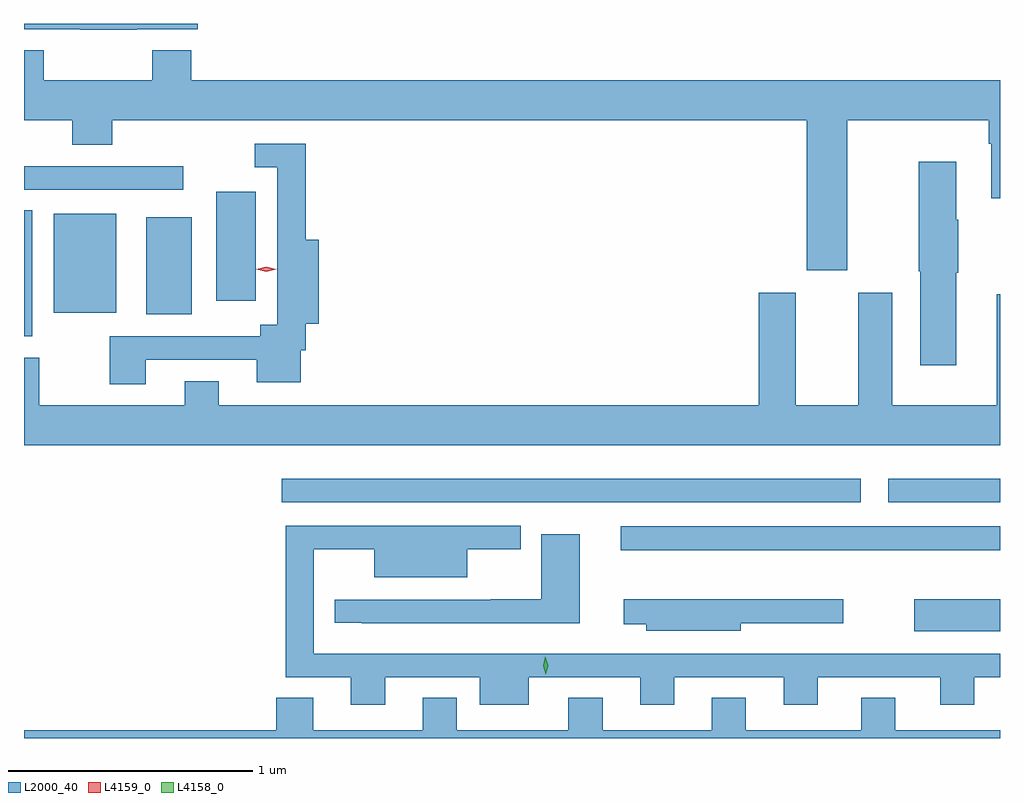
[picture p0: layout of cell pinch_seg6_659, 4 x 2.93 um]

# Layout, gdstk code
import gdstk
lib = gdstk.Library(unit=1e-6, precision=1e-09)
def R(c, l, rs):  # rectangles x0, y0, x1, y1
    for r in rs: c.add(gdstk.rectangle(r[:2], r[2:], *l))
def P(c, l, *ps):  # polygons
    for p in ps: c.add(gdstk.Polygon(p, *l))
L2000_40 = (2000, 40)
L4158_0 = (4158, 0)
L4159_0 = (4159, 0)

pinch_seg6_659 = lib.new_cell('pinch_seg6_659')
R(pinch_seg6_659, L2000_40, [(485.46,915.938,485.812,916.07), (484.257,916.271,485.812,916.368), (482.868,916.467,485.242,916.564), (485.355,916.467,485.812,916.564), (481.812,917.147,481.846,917.663), (482.312,917.237,482.5,917.635), (481.934,917.243,482.191,917.65), (482.6,917.292,482.761,917.74), (481.812,917.748,482.464,917.844)])
P(pinch_seg6_659, L2000_40, [(482.275,918.405),(482.525,918.405),(482.525,918.428),(481.812,918.428),(481.812,918.405),(482.043,918.405),(482.043,918.404),(482.275,918.404)],
  [(485.185,918.032),(485.765,918.032),(485.765,917.936),(485.777,917.936),(485.777,917.712),(485.812,917.712),(485.812,918.196),(482.498,918.196),(482.498,918.32),(482.338,918.32),(482.338,918.196),(481.893,918.196),(481.893,918.32),(481.812,918.32),(481.812,918.032),(482.009,918.032),(482.009,917.933),(482.174,917.933),(482.174,918.032),(485.021,918.032),(485.021,917.418),(485.185,917.418)],
  [(482.311,917.052),(482.765,917.052),(482.765,916.958),(482.947,916.958),(482.947,917.09),(482.966,917.09),(482.966,917.198),(483.02,917.198),(483.02,917.542),(482.966,917.542),(482.966,917.937),(482.757,917.937),(482.757,917.841),(482.85,917.841),(482.85,917.438),(482.849,917.438),(482.849,917.194),(482.78,917.194),(482.78,917.148),(482.164,917.148),(482.164,916.95),(482.311,916.95)],
  [(485.632,917.407),(485.64,917.407),(485.64,917.624),(485.632,917.624),(485.632,917.863),(485.479,917.863),(485.479,917.413),(485.486,917.413),(485.486,917.028),(485.632,917.028)],
  [(485.812,917.32),(485.798,917.32),(485.798,916.864),(485.371,916.864),(485.371,917.326),(485.231,917.326),(485.231,916.864),(484.975,916.864),(484.975,917.326),(484.823,917.326),(484.823,916.864),(482.611,916.864),(482.611,916.963),(482.471,916.963),(482.471,916.864),(481.875,916.864),(481.875,917.059),(481.812,917.059),(481.812,916.7),(485.812,916.7)],
  [(483.292,915.75),(483.68,915.75),(483.68,915.638),(483.88,915.638),(483.88,915.75),(484.337,915.75),(484.337,915.638),(484.477,915.638),(484.477,915.75),(484.925,915.75),(484.925,915.638),(485.065,915.638),(485.065,915.75),(485.567,915.75),(485.567,915.638),(485.707,915.638),(485.707,915.75),(485.812,915.75),(485.812,915.846),(483,915.846),(483,916.274),(483.248,916.274),(483.248,916.16),(483.628,916.16),(483.628,916.274),(483.847,916.274),(483.847,916.371),(482.884,916.371),(482.884,915.75),(483.152,915.75),(483.152,915.638),(483.292,915.638)],
  [(484.09,916.336),(483.932,916.336),(483.932,916.07),(483.724,916.07),(483.724,916.068),(483.085,916.068),(483.085,915.973),(483.196,915.973),(483.196,915.972),(484.09,915.972)],
  [(484.75,915.972),(485.17,915.972),(485.17,916.07),(484.646,916.07),(484.646,916.069),(484.269,916.069),(484.269,915.968),(484.362,915.968),(484.362,915.941),(484.75,915.941)],
  [(485.812,915.532),(485.383,915.532),(485.383,915.665),(485.243,915.665),(485.243,915.532),(484.771,915.532),(484.771,915.665),(484.631,915.665),(484.631,915.532),(484.183,915.532),(484.183,915.665),(484.043,915.665),(484.043,915.532),(483.586,915.532),(483.586,915.665),(483.446,915.665),(483.446,915.532),(482.998,915.532),(482.998,915.665),(482.846,915.665),(482.846,915.532),(481.812,915.532),(481.812,915.5),(485.812,915.5)])
P(pinch_seg6_659, L4158_0, [(483.951,915.762),(483.951,915.762),(483.94,915.798),(483.948,915.834),(483.949,915.834),(483.949,915.834),(483.96,915.798),(483.951,915.762)])
P(pinch_seg6_659, L4159_0, [(482.804,917.412),(482.764,917.422),(482.764,917.422),(482.764,917.423),(482.804,917.432),(482.845,917.422),(482.845,917.422),(482.845,917.422)])

lib.write_gds('pinch_seg6_659.gds')
